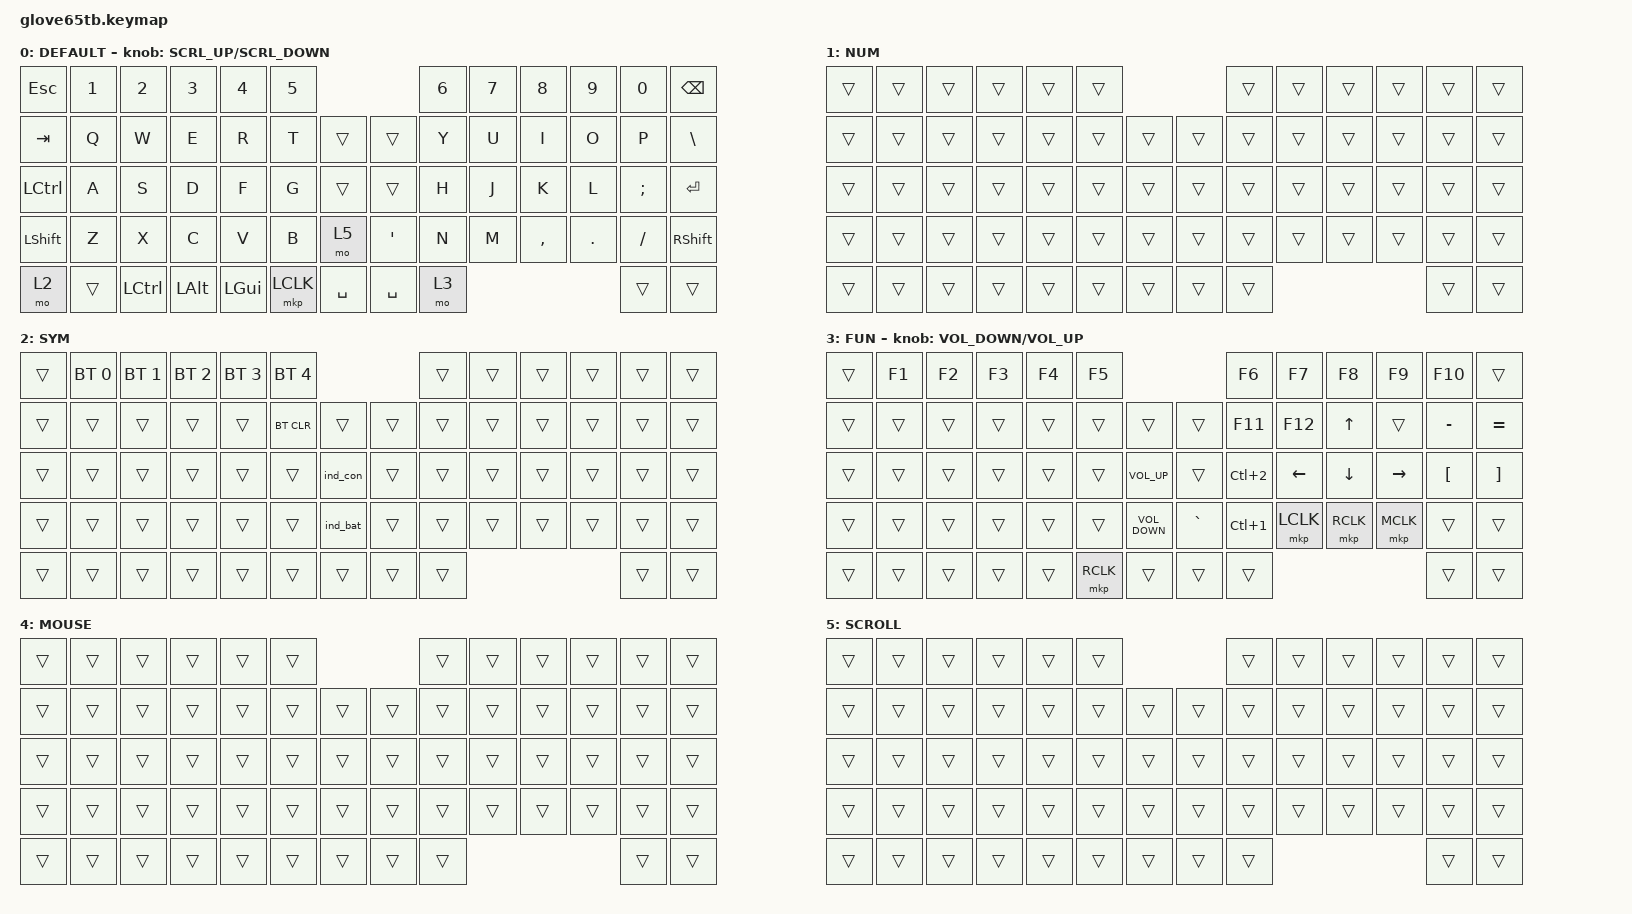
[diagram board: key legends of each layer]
#define ZMK_POINTING_DEFAULT_SCRL_VAL 150

#include <behaviors/rgbled_widget.dtsi>
#include <dt-bindings/zmk/input_transform.h>
#include <input/processors.dtsi>
#include <zephyr/dt-bindings/input/input-event-codes.h>
#include <behaviors.dtsi>
#include <dt-bindings/zmk/bt.h>
#include <dt-bindings/zmk/keys.h>
#include <dt-bindings/zmk/pointing.h>

// Layer Numbering

#define DEFAULT 0
#define NUM     1
#define SYM     2
#define FUN     3
#define MOUSE   4
#define SCROLL  5

&mmv {
    delay-ms = <20>;
    trigger-period-ms = <5>;
    time-to-max-speed-ms = <100>;
    acceleration-exponent = <2>;
};

&msc {
    delay-ms = <3>;
    trigger-period-ms = <3>;
    time-to-max-speed-ms = <100>;
    acceleration-exponent = <0>;
};

/ {
    input_processors {
        zip_wheel_scaler: zip_wheel_scaler {
            compatible = "zmk,input-processor-scaler";
            #input-processor-cells = <2>;
            type = <INPUT_EV_REL>;
            codes = <INPUT_REL_WHEEL>;
            track-remainders;
        };
    };
};

/ {
    combos {
        compatible = "zmk,combos";

        scroll {
            bindings = <&mo 5>;
            key-positions = <49 50>;
        };

        mouse_prev {
            bindings = <&mkp MB4>;
            key-positions = <48 49 50>;
        };

        mouse_next {
            bindings = <&mkp MB5>;
            key-positions = <49 50 51>;
        };
    };

    behaviors {
        sensor_rotate_kp: sensor_rotate_kp {
            compatible = "zmk,behavior-sensor-rotate-var";
            #sensor-binding-cells = <2>;
            bindings = <&kp>, <&kp>;
        };

        mouse_wheel_scroll: mouse_wheel_scroll {
            compatible = "zmk,behavior-sensor-rotate-var";
            #sensor-binding-cells = <2>;
            bindings = <&msc>, <&msc>;

            tap-ms = <20>;
        };
    };

    keymap {
        compatible = "zmk,keymap";

        default_layer {
            label = "DEFAULT";
            bindings = <
&kp ESC           &kp N1  &kp N2            &kp N3        &kp N4        &kp N5                                  &kp N6  &kp N7  &kp N8     &kp N9   &kp N0    &kp BSPC
&kp TAB           &kp Q   &kp W             &kp E         &kp R         &kp T      &trans     &trans            &kp Y   &kp U   &kp I      &kp O    &kp P     &kp BACKSLASH
&kp LEFT_CONTROL  &kp A   &kp S             &kp D         &kp F         &kp G      &trans     &trans            &kp H   &kp J   &kp K      &kp L    &kp SEMI  &kp RETURN
&kp LEFT_SHIFT    &kp Z   &kp X             &kp C         &kp V         &kp B      &mo 5      &kp SINGLE_QUOTE  &kp N   &kp M   &kp COMMA  &kp DOT  &kp FSLH  &kp RIGHT_SHIFT
&mo 2             &trans  &kp LEFT_CONTROL  &kp LEFT_ALT  &kp LEFT_GUI  &mkp LCLK  &kp SPACE  &kp SPACE         &mo 3                               &trans    &trans
            >;

            sensor-bindings = <&mouse_wheel_scroll SCRL_UP SCRL_DOWN>;
        };

        number_layer {
            label = "NUM";
            bindings = <
&trans  &trans  &trans  &trans  &trans  &trans                  &trans  &trans  &trans  &trans  &trans  &trans
&trans  &trans  &trans  &trans  &trans  &trans  &trans  &trans  &trans  &trans  &trans  &trans  &trans  &trans
&trans  &trans  &trans  &trans  &trans  &trans  &trans  &trans  &trans  &trans  &trans  &trans  &trans  &trans
&trans  &trans  &trans  &trans  &trans  &trans  &trans  &trans  &trans  &trans  &trans  &trans  &trans  &trans
&trans  &trans  &trans  &trans  &trans  &trans  &trans  &trans  &trans                          &trans  &trans
            >;
        };

        symbol_layer {
            label = "SYM";
            bindings = <
&trans  &bt BT_SEL 0  &bt BT_SEL 1  &bt BT_SEL 2  &bt BT_SEL 3  &bt BT_SEL 4                    &trans  &trans  &trans  &trans  &trans  &trans
&trans  &trans        &trans        &trans        &trans        &bt BT_CLR    &trans    &trans  &trans  &trans  &trans  &trans  &trans  &trans
&trans  &trans        &trans        &trans        &trans        &trans        &ind_con  &trans  &trans  &trans  &trans  &trans  &trans  &trans
&trans  &trans        &trans        &trans        &trans        &trans        &ind_bat  &trans  &trans  &trans  &trans  &trans  &trans  &trans
&trans  &trans        &trans        &trans        &trans        &trans        &trans    &trans  &trans                          &trans  &trans
            >;
        };

        function_layer {
            label = "FUN";
            bindings = <
&trans  &kp F1  &kp F2  &kp F3  &kp F4  &kp F5                                   &kp F6            &kp F7          &kp F8          &kp F9           &kp F10           &trans
&trans  &trans  &trans  &trans  &trans  &trans     &trans             &trans     &kp F11           &kp F12         &kp UP_ARROW    &trans           &kp MINUS         &kp EQUAL
&trans  &trans  &trans  &trans  &trans  &trans     &kp C_VOLUME_UP    &trans     &kp LC(NUMBER_2)  &kp LEFT_ARROW  &kp DOWN_ARROW  &kp RIGHT_ARROW  &kp LEFT_BRACKET  &kp RIGHT_BRACKET
&trans  &trans  &trans  &trans  &trans  &trans     &kp C_VOLUME_DOWN  &kp GRAVE  &kp LC(NUMBER_1)  &mkp LCLK       &mkp RCLK       &mkp MCLK        &trans            &trans
&trans  &trans  &trans  &trans  &trans  &mkp RCLK  &trans             &trans     &trans                                                             &trans            &trans
            >;

            sensor-bindings = <&sensor_rotate_kp C_VOLUME_DOWN C_VOLUME_UP>;
        };

        mouse_layer {
            label = "MOUSE";
            bindings = <
&trans  &trans  &trans  &trans  &trans  &trans                  &trans  &trans  &trans  &trans  &trans  &trans
&trans  &trans  &trans  &trans  &trans  &trans  &trans  &trans  &trans  &trans  &trans  &trans  &trans  &trans
&trans  &trans  &trans  &trans  &trans  &trans  &trans  &trans  &trans  &trans  &trans  &trans  &trans  &trans
&trans  &trans  &trans  &trans  &trans  &trans  &trans  &trans  &trans  &trans  &trans  &trans  &trans  &trans
&trans  &trans  &trans  &trans  &trans  &trans  &trans  &trans  &trans                          &trans  &trans
            >;
        };

        scroll_layer {
            label = "SCROLL";
            bindings = <
&trans  &trans  &trans  &trans  &trans  &trans                  &trans  &trans  &trans  &trans  &trans  &trans
&trans  &trans  &trans  &trans  &trans  &trans  &trans  &trans  &trans  &trans  &trans  &trans  &trans  &trans
&trans  &trans  &trans  &trans  &trans  &trans  &trans  &trans  &trans  &trans  &trans  &trans  &trans  &trans
&trans  &trans  &trans  &trans  &trans  &trans  &trans  &trans  &trans  &trans  &trans  &trans  &trans  &trans
&trans  &trans  &trans  &trans  &trans  &trans  &trans  &trans  &trans                          &trans  &trans
            >;
        };
    };
};
